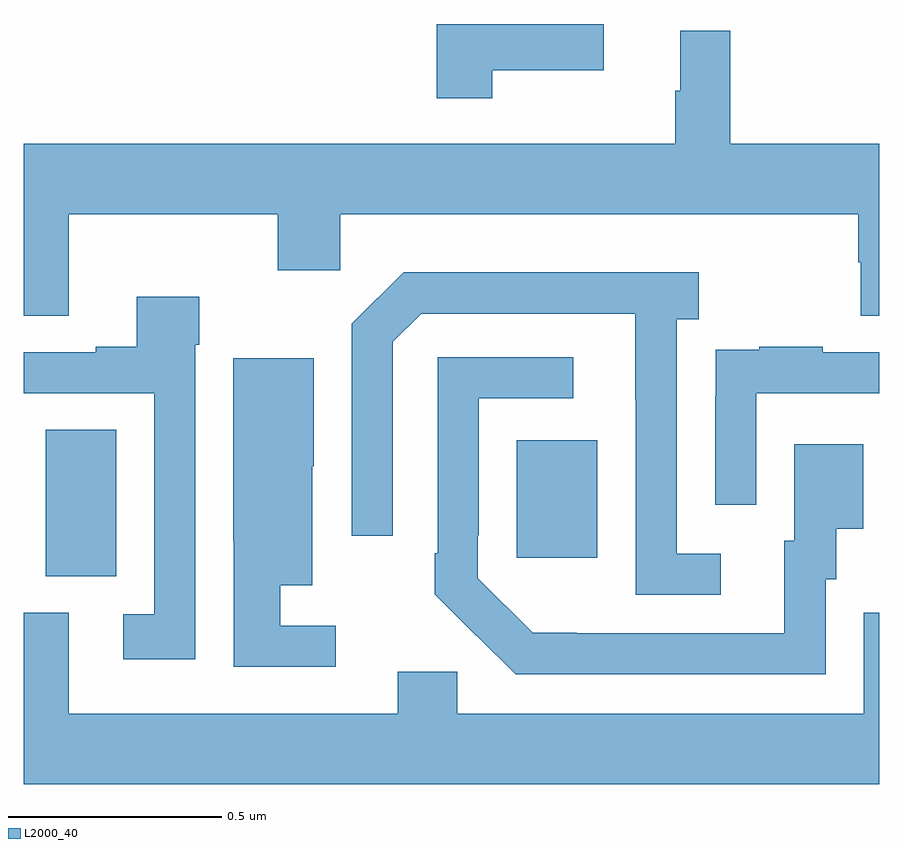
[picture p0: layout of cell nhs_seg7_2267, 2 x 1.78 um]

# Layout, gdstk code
import gdstk
lib = gdstk.Library(unit=1e-6, precision=1e-09)
def R(c, l, rs):  # rectangles x0, y0, x1, y1
    for r in rs: c.add(gdstk.rectangle(r[:2], r[2:], *l))
def P(c, l, *ps):  # polygons
    for p in ps: c.add(gdstk.Polygon(p, *l))
L2000_40 = (2000, 40)

nhs_seg7_2267 = lib.new_cell('nhs_seg7_2267')
R(nhs_seg7_2267, L2000_40, [(142.052,1059.709,142.216,1060.052), (143.153,1059.753,143.341,1060.027)])
P(nhs_seg7_2267, L2000_40, [(143.095,1060.892),(143.356,1060.892),(143.356,1061),(142.966,1061),(142.966,1060.827),(143.095,1060.827)],
  [(142.105,1060.556),(142.594,1060.556),(142.594,1060.425),(142.74,1060.425),(142.74,1060.556),(143.951,1060.556),(143.951,1060.443),(143.956,1060.443),(143.956,1060.318),(144,1060.318),(144,1060.72),(143.651,1060.72),(143.651,1060.984),(143.534,1060.984),(143.534,1060.844),(143.523,1060.844),(143.523,1060.72),(142,1060.72),(142,1060.318),(142.105,1060.318)],
  [(143.629,1059.762),(143.526,1059.762),(143.526,1060.31),(143.578,1060.31),(143.578,1060.42),(142.888,1060.42),(142.767,1060.299),(142.767,1059.804),(142.863,1059.804),(142.863,1060.257),(142.929,1060.323),(143.429,1060.323),(143.429,1060.123),(143.43,1060.123),(143.43,1059.666),(143.629,1059.666)],
  [(142.401,1060.25),(142.41,1060.25),(142.41,1060.363),(142.265,1060.363),(142.265,1060.246),(142.169,1060.246),(142.169,1060.233),(142,1060.233),(142,1060.137),(142.305,1060.137),(142.305,1059.621),(142.233,1059.621),(142.233,1059.516),(142.401,1059.516)],
  [(143.712,1060.137),(144,1060.137),(144,1060.233),(143.867,1060.233),(143.867,1060.246),(143.719,1060.246),(143.719,1060.239),(143.617,1060.239),(143.617,1060.13),(143.616,1060.13),(143.616,1059.876),(143.712,1059.876)],
  [(143.874,1059.702),(143.899,1059.702),(143.899,1059.821),(143.962,1059.821),(143.962,1060.018),(143.801,1060.018),(143.801,1059.792),(143.777,1059.792),(143.777,1059.576),(143.293,1059.576),(143.293,1059.577),(143.19,1059.577),(143.061,1059.705),(143.061,1059.805),(143.064,1059.805),(143.064,1060.125),(143.284,1060.125),(143.284,1060.221),(142.968,1060.221),(142.968,1059.763),(142.961,1059.763),(142.961,1059.668),(143.058,1059.57),(143.059,1059.571),(143.15,1059.48),(143.874,1059.48)],
  [(142.729,1059.594),(142.6,1059.594),(142.6,1059.689),(142.675,1059.689),(142.675,1059.966),(142.678,1059.966),(142.678,1060.219),(142.49,1060.219),(142.49,1059.793),(142.491,1059.793),(142.491,1059.498),(142.729,1059.498)],
  [(144,1059.624),(143.963,1059.624),(143.963,1059.388),(143.013,1059.388),(143.013,1059.486),(142.874,1059.486),(142.874,1059.388),(142.105,1059.388),(142.105,1059.624),(142,1059.624),(142,1059.224),(144,1059.224)])

lib.write_gds('nhs_seg7_2267.gds')
